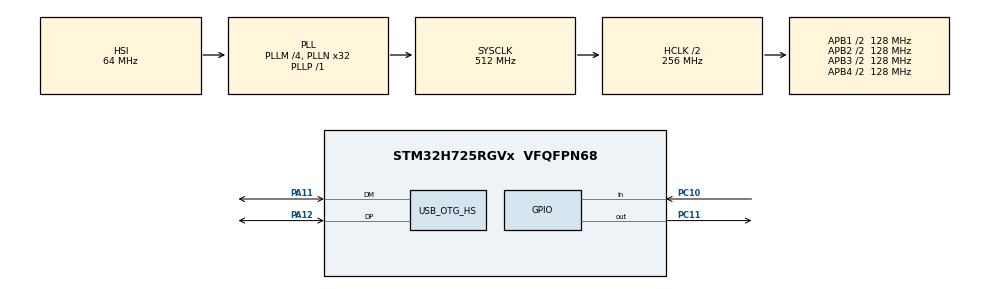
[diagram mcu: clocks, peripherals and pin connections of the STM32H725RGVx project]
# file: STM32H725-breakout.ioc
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Mcu.Family=STM32H7
Mcu.Name=STM32H725RGVx
Mcu.Package=VFQFPN68
NVIC.OTG_HS_IRQn=true\:0\:0\:false\:false\:true\:false\:true\:true
NVIC.PriorityGroup=NVIC_PRIORITYGROUP_4
PA11.Mode=Device_Only_FS
PA11.Signal=USB_OTG_HS_DM
PA12.Mode=Device_Only_FS
PA12.Signal=USB_OTG_HS_DP
PA13(JTMS/SWDIO).Mode=Serial_Wire
PA13(JTMS/SWDIO).Signal=DEBUG_JTMS-SWDIO
PA14(JTCK/SWCLK).Mode=Serial_Wire
PA14(JTCK/SWCLK).Signal=DEBUG_JTCK-SWCLK
PC10.Signal=GPIO_Input
PC11.Signal=GPIO_Output
ProjectManager.HeapSize=0x200
ProjectManager.StackSize=0x400
ProjectManager.TargetToolchain=Makefile
RCC.ADCFreq_Value=48000000
RCC.APB1Freq_Value=128000000
RCC.APB2Freq_Value=128000000
RCC.APB3Freq_Value=128000000
RCC.APB4Freq_Value=128000000
RCC.CortexFreq_Value=512000000
RCC.D1PPRE=RCC_APB3_DIV2
RCC.D2PPRE1=RCC_APB1_DIV2
RCC.D2PPRE2=RCC_APB2_DIV2
RCC.D3PPRE=RCC_APB4_DIV2
RCC.DIVM1=4
RCC.DIVM2=4
RCC.DIVN1=32
RCC.DIVN2=12
RCC.DIVP1=1
RCC.DIVP2=4
RCC.DIVQ1=4
RCC.HCLKFreq_Value=256000000
RCC.HPRE=RCC_HCLK_DIV2
RCC.PLL2FRACN=0
RCC.PLL2_VCI_Range-AdvancedSettings=RCC_PLL2VCIRANGE_0
RCC.PLL3FRACN=0
RCC.PLLFRACN=0
RCC.PLLSourceVirtual=RCC_PLLSOURCE_HSI
RCC.SYSCLKFreq_VALUE=512000000
RCC.SYSCLKSource=RCC_SYSCLKSOURCE_PLLCLK
RCC.Tim1Mul=1
RCC.USBCLockSelection=RCC_USBCLKSOURCE_HSI48
RCC.USBFreq_Value=48000000
USB_DEVICE.CLASS_NAME_HS=DFU
USB_DEVICE.VirtualMode=Dfu
USB_DEVICE.VirtualModeHS=Dfu_HS
USB_OTG_HS.VirtualMode=Device_Only_FS
VP_USB_DEVICE_VS_USB_DEVICE_DFU_HS.Mode=DFU_HS
board=custom

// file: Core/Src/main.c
/* USER CODE BEGIN Header */
/**
  ******************************************************************************
  * @file           : main.c
  * @brief          : Main program body
  ******************************************************************************
  * @attention
  *
  * Copyright (c) 2025 STMicroelectronics.
  * All rights reserved.
  *
  * This software is licensed under terms that can be found in the LICENSE file
  * in the root directory of this software component.
  * If no LICENSE file comes with this software, it is provided AS-IS.
  *
  ******************************************************************************
  */
/* USER CODE END Header */
#include "main.h"
#include "usb_device.h"
#include "gpio.h"

/* USER CODE BEGIN PD */
#define APP_ADDRESS 0x08020000 // assumes 128kb bootloader
typedef void (*pAppFunc)(void);
/* USER CODE END PD */

void SystemClock_Config(void);
void JumpToApplication(void);
uint8_t DFU_Requested(void);

int main(void)
{

  /* MCU Configuration--------------------------------------------------------*/

  /* Reset of all peripherals, Initializes the Flash interface and the Systick. */
  HAL_Init();

  /* Configure the system clock */
  SystemClock_Config();

  /* Initialize all configured peripherals */
  MX_GPIO_Init();

  /* USER CODE BEGIN 2 */
  /* Configure LED pin as output (if not already in MX_GPIO_Init) */
  GPIO_InitTypeDef GPIO_InitStruct = {0};
  GPIO_InitStruct.Pin = GPIO_PIN_11;
  GPIO_InitStruct.Mode = GPIO_MODE_OUTPUT_PP;
  GPIO_InitStruct.Pull = GPIO_NOPULL;
  GPIO_InitStruct.Speed = GPIO_SPEED_FREQ_LOW;
  HAL_GPIO_Init(GPIOC, &GPIO_InitStruct);

  // Check for DFU trigger
  if (DFU_Requested()) {
      // Initialize USB DFU device
      MX_USB_DEVICE_Init();

      while (1) {
          // DFU process handled in USB interrupt
          HAL_GPIO_TogglePin(GPIOC, GPIO_PIN_11); // heartbeat when in dfu mode
          HAL_Delay(500);
      }
  } else {
      // Jump to application
      JumpToApplication();
  }
  /* USER CODE END 2 */

  /* Infinite loop */
  while (1)
  {
    // should never reach here
  }
}

void SystemClock_Config(void)
{
  RCC_OscInitTypeDef RCC_OscInitStruct = {0};
  RCC_ClkInitTypeDef RCC_ClkInitStruct = {0};

  /** Supply configuration update enable
  */
  HAL_PWREx_ConfigSupply(PWR_DIRECT_SMPS_SUPPLY);

  /** Configure the main internal regulator output voltage
  */
  __HAL_PWR_VOLTAGESCALING_CONFIG(PWR_REGULATOR_VOLTAGE_SCALE0);

  while(!__HAL_PWR_GET_FLAG(PWR_FLAG_VOSRDY)) {}

  /** Initializes the RCC Oscillators according to the specified parameters
  * in the RCC_OscInitTypeDef structure.
  */
  RCC_OscInitStruct.OscillatorType = RCC_OSCILLATORTYPE_HSI48|RCC_OSCILLATORTYPE_HSI;
  RCC_OscInitStruct.HSIState = RCC_HSI_DIV1;
  RCC_OscInitStruct.HSICalibrationValue = RCC_HSICALIBRATION_DEFAULT;
  RCC_OscInitStruct.HSI48State = RCC_HSI48_ON;
  RCC_OscInitStruct.PLL.PLLState = RCC_PLL_ON;
  RCC_OscInitStruct.PLL.PLLSource = RCC_PLLSOURCE_HSI;
  RCC_OscInitStruct.PLL.PLLM = 4;
  RCC_OscInitStruct.PLL.PLLN = 32;
  RCC_OscInitStruct.PLL.PLLP = 1;
  RCC_OscInitStruct.PLL.PLLQ = 4;
  RCC_OscInitStruct.PLL.PLLR = 2;
  RCC_OscInitStruct.PLL.PLLRGE = RCC_PLL1VCIRANGE_3;
  RCC_OscInitStruct.PLL.PLLVCOSEL = RCC_PLL1VCOWIDE;
  RCC_OscInitStruct.PLL.PLLFRACN = 0;
  if (HAL_RCC_OscConfig(&RCC_OscInitStruct) != HAL_OK)
  {
    Error_Handler();
  }

  /** Initializes the CPU, AHB and APB buses clocks
  */
  RCC_ClkInitStruct.ClockType = RCC_CLOCKTYPE_HCLK|RCC_CLOCKTYPE_SYSCLK
                              |RCC_CLOCKTYPE_PCLK1|RCC_CLOCKTYPE_PCLK2
                              |RCC_CLOCKTYPE_D3PCLK1|RCC_CLOCKTYPE_D1PCLK1;
  RCC_ClkInitStruct.SYSCLKSource = RCC_SYSCLKSOURCE_PLLCLK;
  RCC_ClkInitStruct.SYSCLKDivider = RCC_SYSCLK_DIV1;
  RCC_ClkInitStruct.AHBCLKDivider = RCC_HCLK_DIV2;
  RCC_ClkInitStruct.APB3CLKDivider = RCC_APB3_DIV2;
  RCC_ClkInitStruct.APB1CLKDivider = RCC_APB1_DIV2;
  RCC_ClkInitStruct.APB2CLKDivider = RCC_APB2_DIV2;
  RCC_ClkInitStruct.APB4CLKDivider = RCC_APB4_DIV2;

  if (HAL_RCC_ClockConfig(&RCC_ClkInitStruct, FLASH_LATENCY_3) != HAL_OK)
  {
    Error_Handler();
  }
}

/* USER CODE BEGIN 4 */
void JumpToApplication(void)
{
    uint32_t appStack = *(__IO uint32_t*)APP_ADDRESS;
    uint32_t appEntry = *(__IO uint32_t*)(APP_ADDRESS + 4);

    // Deinitialize peripherals
    HAL_RCC_DeInit();
    HAL_DeInit();

    // Set Main Stack Pointer
    __set_MSP(appStack);

    // Jump to application reset handler
    pAppFunc app = (pAppFunc)appEntry;
    app();
}
uint8_t DFU_Requested(void)
{
    if(HAL_GPIO_ReadPin(GPIOC, GPIO_PIN_10) == GPIO_PIN_RESET) // dfu button trigger PC10
    {
        HAL_Delay(20); // 20ms debounce
        if(HAL_GPIO_ReadPin(GPIOC, GPIO_PIN_10) == GPIO_PIN_RESET)
            return 1;
    }
    return 0;
}
/* USER CODE END 4 */

void Error_Handler(void)
{
  __disable_irq();
  while (1)
  {
  }
}
